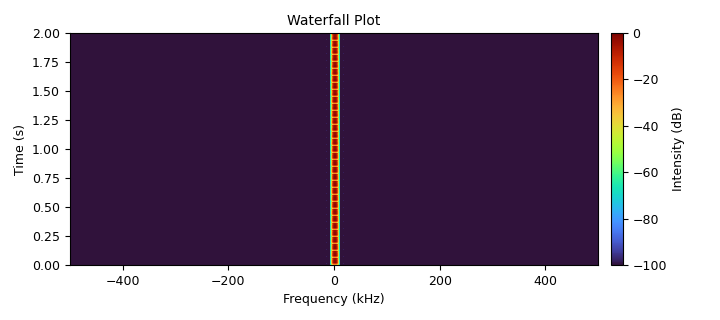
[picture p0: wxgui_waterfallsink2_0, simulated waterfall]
<?xml version='1.0' encoding='utf-8'?>
<?grc format='1' created='3.7.8'?>
<flow_graph>
<block>
<key>options</key>
<param><key>id</key><value>sock_send</value></param>
<param><key>category</key><value>Custom</value></param>
<param><key>generate_options</key><value>wx_gui</value></param>
</block>
<block>
<key>variable</key>
<param><key>id</key><value>samp_rate</value></param>
<param><key>value</key><value>1e6</value></param>
</block>
<block>
<key>analog_const_source_x</key>
<param><key>id</key><value>analog_const_source_x_0</value></param>
<param><key>const</key><value>0</value></param>
<param><key>type</key><value>float</value></param>
</block>
<block>
<key>analog_sig_source_x</key>
<param><key>id</key><value>analog_sig_source_x_0</value></param>
<param><key>amp</key><value>1</value></param>
<param><key>freq</key><value>0</value></param>
<param><key>offset</key><value>0</value></param>
<param><key>type</key><value>complex</value></param>
<param><key>samp_rate</key><value>samp_rate</value></param>
<param><key>waveform</key><value>analog.GR_COS_WAVE</value></param>
</block>
<block>
<key>blocks_char_to_float</key>
<param><key>id</key><value>blocks_char_to_float_0</value></param>
<param><key>scale</key><value>1</value></param>
</block>
<block>
<key>blocks_float_to_complex</key>
<param><key>id</key><value>blocks_float_to_complex_0</value></param>
</block>
<block>
<key>blocks_multiply_xx</key>
<param><key>id</key><value>blocks_multiply_xx_0</value></param>
<param><key>type</key><value>complex</value></param>
</block>
<block>
<key>blocks_vector_source_x</key>
<param><key>id</key><value>blocks_vector_source_x_0</value></param>
<param><key>type</key><value>byte</value></param>
<param><key>repeat</key><value>True</value></param>
<param><key>vector</key><value>(1,1,1,1,1,1,0,0,0,1)</value></param>
</block>
<block>
<key>osmosdr_sink</key>
<param><key>id</key><value>osmosdr_sink_0</value></param>
<param><key>bb_gain0</key><value>20</value></param>
<param><key>freq0</key><value>433.92e6</value></param>
<param><key>if_gain0</key><value>20</value></param>
<param><key>gain0</key><value>10</value></param>
<param><key>args</key><value></value></param>
<param><key>type</key><value>fc32</value></param>
<param><key>sample_rate</key><value>samp_rate</value></param>
</block>
<block>
<key>rational_resampler_xxx</key>
<param><key>id</key><value>rational_resampler_xxx_0</value></param>
<param><key>decim</key><value>1</value></param>
<param><key>interp</key><value>240</value></param>
<param><key>taps</key><value></value></param>
<param><key>type</key><value>fff</value></param>
</block>
<block>
<key>wxgui_waterfallsink2</key>
<param><key>id</key><value>wxgui_waterfallsink2_0</value></param>
<param><key>avg_alpha</key><value>0</value></param>
<param><key>average</key><value>False</value></param>
<param><key>baseband_freq</key><value>0</value></param>
<param><key>dynamic_range</key><value>100</value></param>
<param><key>fft_rate</key><value>15</value></param>
<param><key>fft_size</key><value>512</value></param>
<param><key>freqvar</key><value>None</value></param>
<param><key>ref_scale</key><value>2.0</value></param>
<param><key>ref_level</key><value>0</value></param>
<param><key>samp_rate</key><value>samp_rate</value></param>
<param><key>title</key><value>Waterfall Plot</value></param>
<param><key>type</key><value>complex</value></param>
<param><key>win</key><value>None</value></param>
</block>
<connection><source_block_id>analog_const_source_x_0</source_block_id><sink_block_id>blocks_float_to_complex_0</sink_block_id><source_key>0</source_key><sink_key>1</sink_key></connection>
<connection><source_block_id>analog_sig_source_x_0</source_block_id><sink_block_id>blocks_multiply_xx_0</sink_block_id><source_key>0</source_key><sink_key>0</sink_key></connection>
<connection><source_block_id>blocks_char_to_float_0</source_block_id><sink_block_id>rational_resampler_xxx_0</sink_block_id><source_key>0</source_key><sink_key>0</sink_key></connection>
<connection><source_block_id>blocks_float_to_complex_0</source_block_id><sink_block_id>blocks_multiply_xx_0</sink_block_id><source_key>0</source_key><sink_key>1</sink_key></connection>
<connection><source_block_id>blocks_multiply_xx_0</source_block_id><sink_block_id>osmosdr_sink_0</sink_block_id><source_key>0</source_key><sink_key>0</sink_key></connection>
<connection><source_block_id>blocks_multiply_xx_0</source_block_id><sink_block_id>wxgui_waterfallsink2_0</sink_block_id><source_key>0</source_key><sink_key>0</sink_key></connection>
<connection><source_block_id>blocks_vector_source_x_0</source_block_id><sink_block_id>blocks_char_to_float_0</sink_block_id><source_key>0</source_key><sink_key>0</sink_key></connection>
<connection><source_block_id>rational_resampler_xxx_0</source_block_id><sink_block_id>blocks_float_to_complex_0</sink_block_id><source_key>0</source_key><sink_key>0</sink_key></connection>
</flow_graph>
